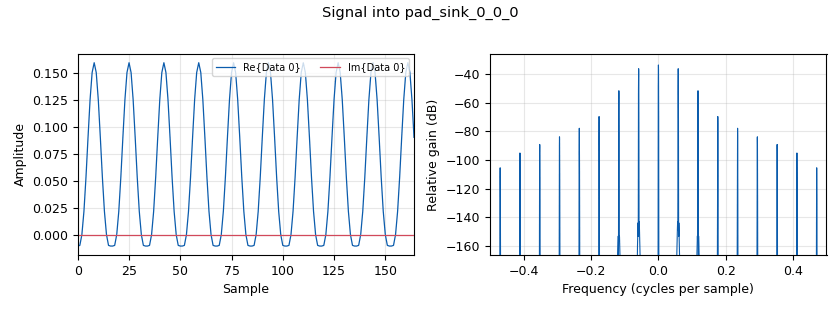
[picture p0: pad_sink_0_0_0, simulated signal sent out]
<?xml version='1.0' encoding='utf-8'?>
<?grc format='1' created='3.7.9'?>
<flow_graph>
<block>
<key>options</key>
<param><key>id</key><value>b_RRaised_cosine_cc</value></param>
<param><key>author</key><value>Done by: Homero Ortega Boada. Universidad Industrial de Santander</value></param>
<param><key>category</key><value>comdiguis</value></param>
<param><key>description</key><value>It is the Root Raised Cosine Filter. Usually gnuradio comes with the square root variant, but this is the right one. Parameters: rolloff - is the rolloff factor or Exccess Bandwidth;  sps - the number of samples per simbol the filter will produce; ntaps- the number of components in the impulse response. Note that if you use two such blocks one in the transmiter (Tx) and one in the receiver (Rx) to obtain a matched filter, equivalent to a RC Filter that satisfies the Nyquist ISI Criterion, the configuration have to be this way: At the Tx give: interpolation=samples per symbol, ntaps= samples per symbol * number of taps; at the receiver give:  intepolation=1; ntaps=number of taps</value></param>
<param><key>generate_options</key><value>hb</value></param>
<param><key>title</key><value>b_RRaised_cosine_cc</value></param>
</block>
<block>
<key>variable</key>
<param><key>id</key><value>Amp</value></param>
<param><key>value</key><value>numpy.amax(rrc_taps)</value></param>
</block>
<block>
<key>variable</key>
<param><key>id</key><value>rrc_taps</value></param>
<param><key>value</key><value>firdes.root_raised_cosine(1, sps, 1, rolloff, ntaps)</value></param>
</block>
<block>
<key>parameter</key>
<param><key>id</key><value>Ganancia</value></param>
<param><key>label</key><value>Ganancia</value></param>
<param><key>type</key><value>eng_float</value></param>
<param><key>value</key><value>1.</value></param>
</block>
<block>
<key>parameter</key>
<param><key>id</key><value>Interpolation</value></param>
<param><key>label</key><value>Interpolation</value></param>
<param><key>type</key><value>intx</value></param>
<param><key>value</key><value>1</value></param>
</block>
<block>
<key>blocks_multiply_const_vxx</key>
<param><key>id</key><value>blocks_multiply_const_vxx_0</value></param>
<param><key>const</key><value>Ganancia</value></param>
<param><key>type</key><value>complex</value></param>
</block>
<block>
<key>blocks_vector_source_x</key>
<param><key>id</key><value>blocks_vector_source_x_0_0</value></param>
<param><key>type</key><value>complex</value></param>
<param><key>repeat</key><value>True</value></param>
<param><key>vector</key><value>rrc_taps</value></param>
</block>
<block>
<key>import</key>
<param><key>id</key><value>import_0</value></param>
<param><key>import</key><value>import numpy</value></param>
</block>
<block>
<key>interp_fir_filter_xxx</key>
<param><key>id</key><value>interp_fir_filter_xxx_0_0</value></param>
<param><key>interp</key><value>Interpolation</value></param>
<param><key>taps</key><value>rrc_taps/Amp</value></param>
<param><key>type</key><value>ccc</value></param>
</block>
<block>
<key>parameter</key>
<param><key>id</key><value>ntaps</value></param>
<param><key>type</key><value>intx</value></param>
<param><key>value</key><value>16</value></param>
</block>
<block>
<key>pad_sink</key>
<param><key>id</key><value>pad_sink_0</value></param>
<param><key>type</key><value>complex</value></param>
<param><key>label</key><value>out</value></param>
</block>
<block>
<key>pad_sink</key>
<param><key>id</key><value>pad_sink_0_0_0</value></param>
<param><key>type</key><value>complex</value></param>
<param><key>label</key><value>h[n]</value></param>
<param><key>optional</key><value>True</value></param>
</block>
<block>
<key>pad_source</key>
<param><key>id</key><value>pad_source_0</value></param>
<param><key>label</key><value>in</value></param>
<param><key>type</key><value>complex</value></param>
</block>
<block>
<key>parameter</key>
<param><key>id</key><value>rolloff</value></param>
<param><key>type</key><value>eng_float</value></param>
<param><key>value</key><value>1</value></param>
</block>
<block>
<key>parameter</key>
<param><key>id</key><value>sps</value></param>
<param><key>type</key><value>intx</value></param>
<param><key>value</key><value>8</value></param>
</block>
<connection><source_block_id>blocks_multiply_const_vxx_0</source_block_id><sink_block_id>interp_fir_filter_xxx_0_0</sink_block_id><source_key>0</source_key><sink_key>0</sink_key></connection>
<connection><source_block_id>blocks_vector_source_x_0_0</source_block_id><sink_block_id>pad_sink_0_0_0</sink_block_id><source_key>0</source_key><sink_key>0</sink_key></connection>
<connection><source_block_id>interp_fir_filter_xxx_0_0</source_block_id><sink_block_id>pad_sink_0</sink_block_id><source_key>0</source_key><sink_key>0</sink_key></connection>
<connection><source_block_id>pad_source_0</source_block_id><sink_block_id>blocks_multiply_const_vxx_0</sink_block_id><source_key>0</source_key><sink_key>0</sink_key></connection>
</flow_graph>
